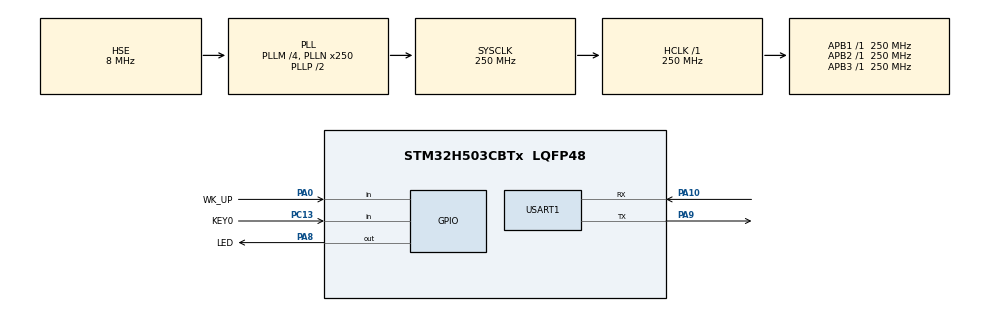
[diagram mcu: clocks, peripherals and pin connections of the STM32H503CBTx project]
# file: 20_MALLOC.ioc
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BOOTPATH.BootPathName=LEGACY
BOOTPATH.UserSelectedBootPath=LEGACY
Mcu.Family=STM32H5
Mcu.Name=STM32H503CBTx
Mcu.Package=LQFP48
NVIC.PriorityGroup=NVIC_PRIORITYGROUP_2
NVIC.TIM2_IRQn=true\:2\:1\:true\:false\:true\:true\:true\:true
NVIC.USART1_IRQn=true\:2\:2\:true\:false\:true\:true\:true\:true
PA0.GPIO_Label=WK_UP
PA0.GPIO_PuPd=GPIO_PULLDOWN
PA0.Signal=GPIO_Input
PA10.GPIO_ModeDefaultPP=GPIO_MODE_AF_PP
PA10.GPIO_Speed=GPIO_SPEED_FREQ_LOW
PA10.Mode=Asynchronous
PA10.Signal=USART1_RX
PA8.GPIO_Label=LED
PA8.GPIO_ModeDefaultOutputPP=GPIO_MODE_OUTPUT_PP
PA8.GPIO_PuPd=GPIO_PULLUP
PA8.PinState=GPIO_PIN_SET
PA8.Signal=GPIO_Output
PA9.GPIO_Speed=GPIO_SPEED_FREQ_HIGH
PA9.Mode=Asynchronous
PA9.Signal=USART1_TX
PC13.GPIO_Label=KEY0
PC13.GPIO_PuPd=GPIO_PULLDOWN
PC13.Signal=GPIO_Input
PC14-OSC32_IN(OSC32_IN).Mode=LSE-External-Oscillator
PC14-OSC32_IN(OSC32_IN).Signal=RCC_OSC32_IN
PC15-OSC32_OUT(OSC32_OUT).Mode=LSE-External-Oscillator
PC15-OSC32_OUT(OSC32_OUT).Signal=RCC_OSC32_OUT
PH0-OSC_IN(PH0).Mode=HSE-External-Oscillator
PH0-OSC_IN(PH0).Signal=RCC_OSC_IN
PH1-OSC_OUT(PH1).Mode=HSE-External-Oscillator
PH1-OSC_OUT(PH1).Signal=RCC_OSC_OUT
ProjectManager.HeapSize=0x200
ProjectManager.StackSize=0x400
ProjectManager.TargetToolchain=STM32CubeIDE
RCC.ADCFreq_Value=250000000
RCC.AHBFreq_Value=250000000
RCC.APB1Freq_Value=250000000
RCC.APB1TimFreq_Value=250000000
RCC.APB2Freq_Value=250000000
RCC.APB2TimFreq_Value=250000000
RCC.APB3Freq_Value=250000000
RCC.CSI_VALUE=4000000
RCC.CortexFreq_Value=250000000
RCC.EPOD_VALUE=8000000
RCC.HCLKFreq_Value=250000000
RCC.HSE_VALUE=8000000
RCC.HSI48_VALUE=48000000
RCC.HSI_VALUE=64000000
RCC.LSIRC_VALUE=32000
RCC.PLLM=4
RCC.PLLN=250
RCC.PLLSourceVirtual=RCC_PLL1_SOURCE_HSE
RCC.SYSCLKFreq_VALUE=250000000
RCC.SYSCLKSource=RCC_SYSCLKSOURCE_PLLCLK
RCC.USBFreq_Value=48000000
RCC.VCOOutputFreq_Value=500000000
TIM2.AutoReloadPreload=TIM_AUTORELOAD_PRELOAD_ENABLE
TIM2.PeriodNoDither=1000-1
TIM2.Prescaler=25000-1
USART1.VirtualMode=VM_ASYNC
VP_BOOTPATH_VS_BOOTPATH.Mode=BP_Activate
VP_ICACHE_VS_ICACHE.Mode=DefaultMode
VP_MEMORYMAP_VS_MEMORYMAP.Mode=CurAppReg
VP_PWR_VS_DBSignals.Mode=DisableDeadBatterySignals
VP_PWR_VS_LPOM.Mode=PowerOptimisation
VP_PWR_VS_SECSignals.Mode=Security/Privilege
VP_TIM2_VS_ClockSourceINT.Mode=Internal
board=custom

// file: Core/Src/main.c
/**
 ****************************************************************************************************
 * @file        main.c
 * @author      ALIENTEK
 * @brief       Memory Management code
 * @license     Copyright (C) 2012-2024, ALIENTEK
 ****************************************************************************************************
 * @attention
 *
 * platform     : ALIENTEK M48-STM32H503 board
 * website      : www.alientek.com
 * forum        : www.openedv.com/forum.php
 *
 * change logs  ：
 * version      data         notes
 * V1.0         20240309     the first version
 *
 ****************************************************************************************************
 */

/* USER CODE BEGIN Header */

/* USER CODE END Header */
#include "main.h"
#include "icache.h"
#include "memorymap.h"
#include "tim.h"
#include "usart.h"
#include "gpio.h"

/* USER CODE BEGIN Includes */
#include "../../ATK_Middlewares/USMART/usmart.h"
#include "../../ATK_Middlewares/MALLOC/malloc.h"
#include "../../BSP/LED/led.h"
#include "../../BSP/KEY/key.h"
/* USER CODE END Includes */

void SystemClock_Config(void);

/* USER CODE BEGIN 0 */
/**
 * @brief   Displays information about the experiment
 * @param   None
 * @retval  None
 */
void stm32h503cb_show_mesg(void)
{
	/* The serial port outputs the experimental information */
	printf("\n");
	printf("********************************\r\n");
	printf("STM32H503\r\n");
    printf("MALLOC Test\r\n");
    printf("ATOM@ALIENTEK\r\n");
    printf("KEY0:Apply for memory\r\n");
    printf("WKUP:Release memory\r\n");
	printf("********************************\r\n");
	printf("\r\n");
}
/* USER CODE END 0 */

int main(void)
{
  /* USER CODE BEGIN 1 */
    uint8_t paddr[20];
    uint16_t memused = 0;
    uint8_t key;
    uint8_t i = 0;
    uint8_t *p = 0;
    uint8_t *tp = 0;
  /* USER CODE END 1 */

  /* MCU Configuration--------------------------------------------------------*/

  /* Reset of all peripherals, Initializes the Flash interface and the Systick. */
  HAL_Init();

  /* Configure the system clock */
  SystemClock_Config();

  /* Initialize all configured peripherals */
  MX_GPIO_Init();
  MX_ICACHE_Init();
  MX_USART1_UART_Init();
  MX_TIM2_Init();
  /* USER CODE BEGIN 2 */
  stm32h503cb_show_mesg();
  /* USER CODE END 2 */

  /* Infinite loop */
  /* USER CODE BEGIN WHILE */
  while (1)
  {
     key = key_scan(0);                                      /* Double-clicking is not supported */

     switch (key)
     {
         case KEY0_PRES:                                     /* KEY0 is pressed */
             p = mymalloc(SRAMIN1, 2048);                    /* Ask for 2K bytes and write something */

             if (p != NULL)
             {
                 sprintf((char *)p, "Memory Malloc Test%03d", i); /* Write something to p */
             }

             break;

         case WKUP_PRES:                                     /* WK_UP is pressed */
             myfree(SRAMIN1, p);                             /* free the memory */
             p = 0;                                          /* Point to an empty address */
             break;
     }

     if (tp != p )
     {
         tp = p;
         sprintf((char *)paddr, "P Addr:0X%08X", (unsigned int)(uint32_t)tp);
         printf("p addr:%s\r\n", paddr);                    /* Display the address of p */

         if (p)
         {
             printf("What is written:%s\r\n",p);            /* Display the contents of P */
         }
     }

     HAL_Delay(10);   		                                /* delay 10ms */
     i++;

     if ((i % 20) == 0)
     {
         memused = my_mem_perused(SRAMIN1);
         sprintf((char *)paddr, "%d.%01d%%", memused / 10, memused % 10);
         printf("Internal memory usage:%s\r\n", paddr);

         LED_TOGGLE();                                     /* LED blinks */
     }
    /* USER CODE END WHILE */

  }
}

void SystemClock_Config(void)
{
  RCC_OscInitTypeDef RCC_OscInitStruct = {0};
  RCC_ClkInitTypeDef RCC_ClkInitStruct = {0};

  /** Configure the main internal regulator output voltage
  */
  __HAL_PWR_VOLTAGESCALING_CONFIG(PWR_REGULATOR_VOLTAGE_SCALE0);

  while(!__HAL_PWR_GET_FLAG(PWR_FLAG_VOSRDY)) {}

  /** Initializes the RCC Oscillators according to the specified parameters
  * in the RCC_OscInitTypeDef structure.
  */
  RCC_OscInitStruct.OscillatorType = RCC_OSCILLATORTYPE_HSE;
  RCC_OscInitStruct.HSEState = RCC_HSE_ON;
  RCC_OscInitStruct.PLL.PLLState = RCC_PLL_ON;
  RCC_OscInitStruct.PLL.PLLSource = RCC_PLL1_SOURCE_HSE;
  RCC_OscInitStruct.PLL.PLLM = 4;
  RCC_OscInitStruct.PLL.PLLN = 250;
  RCC_OscInitStruct.PLL.PLLP = 2;
  RCC_OscInitStruct.PLL.PLLQ = 2;
  RCC_OscInitStruct.PLL.PLLR = 2;
  RCC_OscInitStruct.PLL.PLLRGE = RCC_PLL1_VCIRANGE_1;
  RCC_OscInitStruct.PLL.PLLVCOSEL = RCC_PLL1_VCORANGE_WIDE;
  RCC_OscInitStruct.PLL.PLLFRACN = 0;
  if (HAL_RCC_OscConfig(&RCC_OscInitStruct) != HAL_OK)
  {
    Error_Handler();
  }

  /** Initializes the CPU, AHB and APB buses clocks
  */
  RCC_ClkInitStruct.ClockType = RCC_CLOCKTYPE_HCLK|RCC_CLOCKTYPE_SYSCLK
                              |RCC_CLOCKTYPE_PCLK1|RCC_CLOCKTYPE_PCLK2
                              |RCC_CLOCKTYPE_PCLK3;
  RCC_ClkInitStruct.SYSCLKSource = RCC_SYSCLKSOURCE_PLLCLK;
  RCC_ClkInitStruct.AHBCLKDivider = RCC_SYSCLK_DIV1;
  RCC_ClkInitStruct.APB1CLKDivider = RCC_HCLK_DIV1;
  RCC_ClkInitStruct.APB2CLKDivider = RCC_HCLK_DIV1;
  RCC_ClkInitStruct.APB3CLKDivider = RCC_HCLK_DIV1;

  if (HAL_RCC_ClockConfig(&RCC_ClkInitStruct, FLASH_LATENCY_5) != HAL_OK)
  {
    Error_Handler();
  }
}

void Error_Handler(void)
{
  __disable_irq();
  while (1)
  {
  }
}
